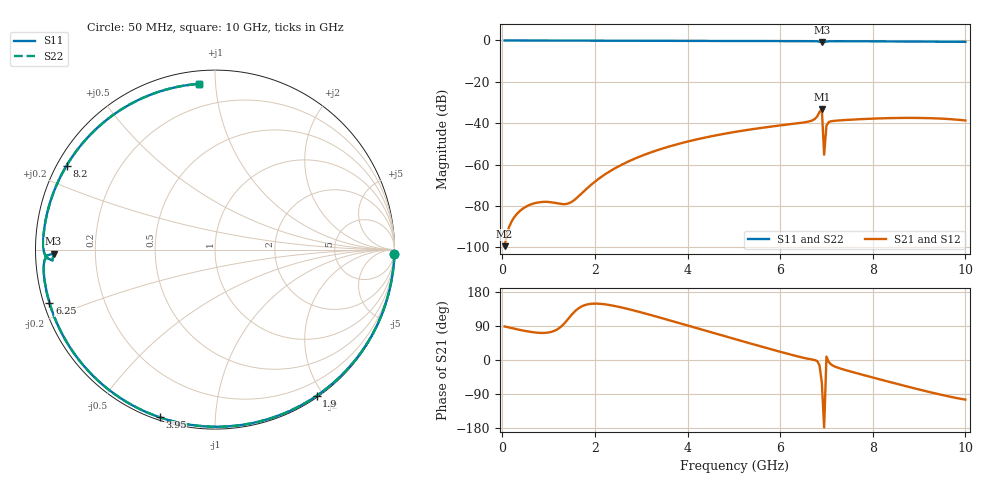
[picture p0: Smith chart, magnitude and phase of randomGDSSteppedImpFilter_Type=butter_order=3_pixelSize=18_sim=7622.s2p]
! freq	dB(S11)	phase(S11)	dB(S12)	phase(S12)
!  dB(S21)	phase(S21)	dB(S22)	phase(S22)
!S-par simulation data
#  GHz  S  DB  R 50
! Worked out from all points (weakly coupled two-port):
!   200 points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, 50 MHz to 10 GHz, reference 50 ohm
!   highest |S21| = -33.19 dB at 6.9 GHz (marker M1); lowest = -99.5 dB at 50 MHz (marker M2)
!   lowest |S11| = -0.9 dB at 6.9 GHz (marker M3), VSWR 18.94, Z = 2.64 - j0.62 ohm
!   |S11| at or under -10 dB: nowhere
!   |S22| runs from -0.9 to 0.0 dB; largest |S21 - S12| = 0
!   S11 on the Smith chart (normalised r, x): 50 MHz: 0, -76; 1.9 GHz: 0.02, -1.91; 3.95 GHz: 0.01, -0.72; 6.25 GHz: 0.02, -0.16; 8.2 GHz: 0.03, +0.26; 10 GHz: 0.07, +0.90
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0.05  -0.00 -1.5  -99.50 88.6  -99.50 88.6  -0.00 -1.5
0.55  -0.02 -16.4  -79.95 75.4  -79.95 75.4  -0.02 -16.4
0.9  -0.03 -26.7  -78.07 71.4  -78.07 71.4  -0.03 -26.7
1.4  -0.05 -41.1  -79.01 105.0  -79.01 105.0  -0.05 -41.1
1.55  -0.06 -45.4  -77.26 126.3  -77.26 126.3  -0.06 -45.4
1.75  -0.06 -51.0  -73.20 143.4  -73.20 143.4  -0.06 -51.0
1.9  -0.07 -55.2  -70.16 148.0  -70.16 148.0  -0.07 -55.2
2.55  -0.09 -72.8  -60.42 139.3  -60.42 139.3  -0.09 -72.8
3.4  -0.12 -94.7  -52.69 112.1  -52.69 112.1  -0.12 -94.7
3.95  -0.14 -108.3  -49.19 92.9  -49.19 92.9  -0.14 -108.3
5.05  -0.19 -134.3  -44.14 54.3  -44.14 54.3  -0.19 -134.3
6.25  -0.28 -162.2  -40.42 13.5  -40.42 13.5  -0.28 -162.2
6.7  -0.34 -173.4  -38.60 1.0  -38.60 1.0  -0.34 -173.4
6.8  -0.43 -176.4  -36.76 -2.9  -36.76 -2.9  -0.43 -176.4
6.9  -0.92 -178.6  -33.19 -59.7  -33.19 -59.7  -0.94 -178.4
6.95  -0.84 -176.1  -55.26 -178.3  -55.26 -178.3  -0.81 -176.0
7  -0.52 -177.4  -41.16 9.0  -41.16 9.0  -0.51 -177.4
7.05  -0.42 -179.1  -39.49 -5.5  -39.49 -5.5  -0.42 -179.1
8.2  -0.44 150.5  -37.65 -52.7  -37.65 -52.7  -0.44 150.5
8.35  -0.46 146.5  -37.57 -57.5  -37.57 -57.5  -0.46 146.5
9.25  -0.56 120.3  -37.60 -85.3  -37.60 -85.3  -0.56 120.3
10  -0.65 95.6  -38.70 -104.5  -38.70 -104.5  -0.65 95.6
